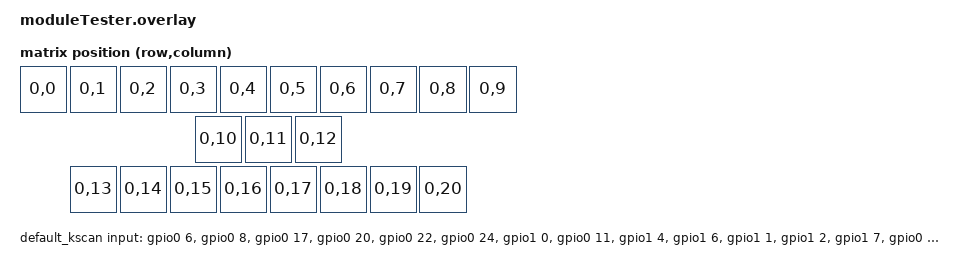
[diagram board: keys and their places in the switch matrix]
#include <dt-bindings/zmk/matrix_transform.h>
#include <physical_layouts.dtsi>

/ {
    default_kscan: kscan {
    // https://zmk.dev/docs/config/kscan#direct-gpio-driver
        compatible = "zmk,kscan-gpio-direct";
        label = "default_kscan";
        wakeup-source;
        input-gpios =  <&gpio0 6 (GPIO_ACTIVE_LOW | GPIO_PULL_UP)>,
        	    <&gpio0 8 (GPIO_ACTIVE_LOW | GPIO_PULL_UP)>,
        	    <&gpio0 17 (GPIO_ACTIVE_LOW | GPIO_PULL_UP)>,
        	    <&gpio0 20 (GPIO_ACTIVE_LOW | GPIO_PULL_UP)>,
        	    <&gpio0 22 (GPIO_ACTIVE_LOW | GPIO_PULL_UP)>,
        	    <&gpio0 24 (GPIO_ACTIVE_LOW | GPIO_PULL_UP)>,
        	    <&gpio1 0 (GPIO_ACTIVE_LOW | GPIO_PULL_UP)>,
        	    <&gpio0 11  (GPIO_ACTIVE_LOW | GPIO_PULL_UP)>,
        	    <&gpio1 4 (GPIO_ACTIVE_LOW | GPIO_PULL_UP)>,
        	    <&gpio1 6  (GPIO_ACTIVE_LOW | GPIO_PULL_UP)>,
        	    <&gpio1 1 (GPIO_ACTIVE_LOW | GPIO_PULL_UP)>,
        	    <&gpio1 2 (GPIO_ACTIVE_LOW | GPIO_PULL_UP)>,
        	    <&gpio1 7 (GPIO_ACTIVE_LOW | GPIO_PULL_UP)>,
        	    <&gpio0 9  (GPIO_ACTIVE_LOW | GPIO_PULL_UP)>,
        	    <&gpio0 10  (GPIO_ACTIVE_LOW | GPIO_PULL_UP)>,
        	    <&gpio1 11 (GPIO_ACTIVE_LOW | GPIO_PULL_UP)>,
        	    <&gpio1 13 (GPIO_ACTIVE_LOW | GPIO_PULL_UP)>,
        	    <&gpio1 15 (GPIO_ACTIVE_LOW | GPIO_PULL_UP)>,
        	    <&gpio0 2 (GPIO_ACTIVE_LOW | GPIO_PULL_UP)>,
        	    <&gpio0 29 (GPIO_ACTIVE_LOW | GPIO_PULL_UP)>,
        	    <&gpio0 31 (GPIO_ACTIVE_LOW | GPIO_PULL_UP)>;
    };

    default_transform: matrix_transform {
        compatible = "zmk,matrix-transform";
        rows = <1>;
        columns = <21>;
        map = <
            RC(0,0) RC(0,1) RC(0,2) RC(0,3) RC(0,4) RC(0,5) RC(0,6) RC(0,7) RC(0,8) RC(0,9) 
            RC(0,10) RC(0,11) RC(0,12) 
            RC(0,13) RC(0,14) RC(0,15) RC(0,16) RC(0,17) RC(0,18) RC(0,19) RC(0,20)
            
        >;
    };

    physical_layout0: physical_layout_0 {
        compatible = "zmk,physical-layout";
        display-name = "Default Layout";
        kscan = <&default_kscan>;
        transform = <&default_transform>; 
    };

    chosen {
        zmk,physical-layout = &physical_layout0;
    };

};

